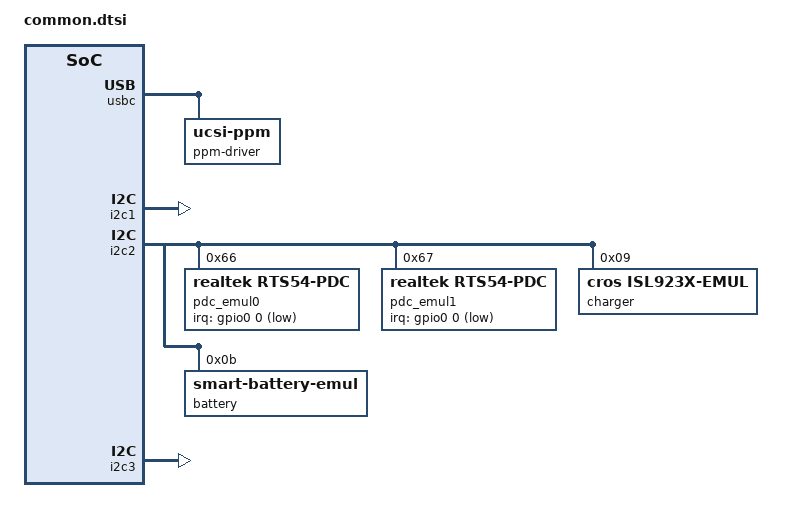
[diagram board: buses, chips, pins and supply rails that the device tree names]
/* Copyright 2026 The ChromiumOS Authors
 * Use of this source code is governed by a BSD-style license that can be
 * found in the LICENSE file.
 */

#include <it8xxx2_emul.dts>
#include <usbc-policy.dtsi>
#include "../program/skywalker/power_signal.dtsi"

/ {
	pinctrl: pinctrl {
		compatible = "ite,it8xxx2-pinctrl";
		status = "disabled";
	};

	named-gpios {
		compatible = "named-gpios";

		gpio_acok_od_z5: acok_od_z5 {
			gpios = <&gpioa 4 (GPIO_INPUT)>;
			enum-name = "GPIO_AC_PRESENT";
		};
		gpio_ap_ec_sysrst_odl: ap_ec_sysrst_odl {
			gpios = <&gpioj 6 (GPIO_INPUT | GPIO_VOLTAGE_1P8 )>;
			enum-name = "GPIO_AP_EC_SYSRST_ODL";
		};
		gpio_ap_ec_warm_rst_req: ap_ec_warm_rst_req {
			gpios = <&gpiom 3 (GPIO_INPUT | GPIO_VOLTAGE_1P8)>;
			enum-name = "GPIO_AP_EC_WARM_RST_REQ";
		};
		gpio_ap_ec_wdtrst_l: ap_ec_wdtrst_l {
			gpios = <&gpioj 3 (GPIO_INPUT | GPIO_VOLTAGE_1P8)>;
			enum-name = "GPIO_AP_EC_WDTRST_L";
		};
		gpio_ap_in_sleep_l: ap_in_sleep_l {
			gpios = <&gpiom 2 (GPIO_INPUT | GPIO_VOLTAGE_1P8)>;
			enum-name = "GPIO_AP_IN_SLEEP_L";
		};
		gpio_ap_xhci_init_done_r: ap_xhci_init_done_r {
			gpios = <&gpioj 4 (GPIO_INPUT | GPIO_VOLTAGE_1P8)>;
		};
		gpio_charger_prochot_odl: charger_prochot_odl {
			gpios = <&gpioc 0 (GPIO_INPUT)>;
		};
		gpio_dp_aux_path_sel: dp_aux_path_sel {
			gpios = <&gpiog 0 (GPIO_OUTPUT | GPIO_ACTIVE_HIGH | GPIO_OUTPUT_INIT_LOW)>;
		};
		gpio_ec_ap_dpoc_en_odl: ec_ap_dpoc_en_odl {
			gpios = <&gpioj 7 (GPIO_OUTPUT | GPIO_OPEN_DRAIN | GPIO_ACTIVE_LOW | GPIO_OUTPUT_INIT_HIGH)>;
		};
		gpio_ec_ap_dp_hpd_l: ec_ap_dp_hpd_l {
			gpios = <&gpiof 3 (GPIO_OUTPUT | GPIO_ACTIVE_LOW | GPIO_OUTPUT_INIT_HIGH)>;
		};
		gpio_gsc_ec_pwr_btn_odl: gsc_ec_pwr_btn_odl {
			gpios = <&gpioa 5 (GPIO_INPUT)>;
			enum-name = "GPIO_POWER_BUTTON_L";
		};
		gpio_lid_360_l: lid_360_l {
			gpios = <&gpioc 7 (GPIO_INPUT)>;
			enum-name = "GPIO_TABLET_MODE_L";
		};
		gpio_lid_open_3v3_z5: lid_open_3v3_z5 {
			gpios = <&gpioc 6 (GPIO_INPUT)>;
			enum-name = "GPIO_LID_OPEN";
		};
		gpio_en_pwr_s3: en_pwr_s3 {
			gpios = <&gpioh 1 (GPIO_OUTPUT)>;
		};
		gpio_en_pwr_s0: en_pwr_s0 {
			gpios = <&gpioh 2 (GPIO_OUTPUT)>;
		};
		gpio_ec_bl_en_od: ec_bl_en_od {
			gpios = <&gpiod 2 (GPIO_OUTPUT | GPIO_OPEN_DRAIN | GPIO_ACTIVE_HIGH | GPIO_OUTPUT_INIT_LOW)>;
		};
		gpio_ec_ap_sys_rst_odl: ec_ap_sys_rst_odl {
			gpios = <&gpioj 5 (GPIO_OUTPUT | GPIO_OPEN_DRAIN | GPIO_ACTIVE_LOW | GPIO_OUTPUT_INIT_HIGH)>;
			enum-name = "GPIO_SYS_RST_ODL";
		};
		gpio_ec_pmic_en_odl_r: ec_pmic_en_odl_r {
			gpios = <&gpioj 0 (GPIO_OUTPUT | GPIO_OPEN_DRAIN | GPIO_ACTIVE_HIGH | GPIO_OUTPUT_INIT_HIGH)>;
			enum-name = "GPIO_EC_PMIC_EN_ODL";
		};
		gpio_en_pp5000: en_pp5000 {
			gpios = <&gpioh 3 (GPIO_OUTPUT | GPIO_ACTIVE_HIGH | GPIO_OUTPUT_INIT_HIGH)>;
			enum-name = "GPIO_EN_PP5000";
		};
		gpio_usb_c0_discharge: usb_c0_discharge {
			gpios = <&gpioi 0 (GPIO_OUTPUT)>;
			enum-name = "GPIO_USB_C0_DISCHARGE";
		};
		gpio_usb_c1_discharge: usb_c1_discharge {
			gpios = <&gpioi 1 (GPIO_OUTPUT)>;
			enum-name = "GPIO_USB_C1_DISCHARGE";
		};
		gpio_lid_accel_int_ec_l: lid_accel_int_ec_l {
			gpios = <&gpiod 1 (GPIO_INPUT | GPIO_VOLTAGE_1P8)>;
		};
		gpio_ec_batt_pres_odl: ec_batt_pres_odl {
			gpios = <&gpiod 6 (GPIO_INPUT)>;
			enum-name = "GPIO_BATT_PRES_ODL";
		};

		/* Dummy ones if needed */
		entering_rw: entering_rw {
			enum-name = "GPIO_ENTERING_RW";
		};
		gpio_pg_pp3700_s5_od: pg_pp3700_s5_od {
			gpios = <&gpioh 6 (GPIO_INPUT)>;
			enum-name = "GPIO_PG_PP4200_S5_OD";
		};
		gpio_pmic_ec_resetb: pmic_ec_resetb {
			gpios = <&gpioj 1 (GPIO_INPUT | GPIO_VOLTAGE_1P8)>;
			enum-name = "GPIO_PMIC_EC_RESETB";
		};
	};

	gpio-interrupts {
		compatible = "cros-ec,gpio-interrupts";

		int_ac_present: ac-present {
			irq-pin = <&gpio_acok_od_z5>;
			flags = <GPIO_INT_EDGE_BOTH>;
			handler = "extpower_interrupt";
		};

		int_ap_xhci_init_done: ap-xhci-init-done {
			irq-pin = <&gpio_ap_xhci_init_done_r>;
			flags = <GPIO_INT_EDGE_BOTH>;
			handler = "xhci_interrupt";
		};

		int_pwr_btn: pwr-btn {
			irq-pin = <&gpio_gsc_ec_pwr_btn_odl>;
			flags = <GPIO_INT_EDGE_BOTH>;
			handler = "power_button_interrupt";
		};

		int_lid_accel: lid-accel {
			irq-pin = <&gpio_lid_accel_int_ec_l>;
			flags = <GPIO_INT_EDGE_FALLING>;
			handler = "lid_accel_interrupt";
		};
	};

	named-i2c-ports {
		compatible = "named-i2c-ports";

		i2c_port_battery: i2c_port_battery {
			i2c-port = <&i2c1>;
			enum-names = "I2C_PORT_BATTERY";
		};
		i2c_port_pdc: i2c_port_pdc {
			i2c-port = <&i2c2>;
			enum-names = "I2C_PORT_PDC";
		};
		i2c_ec_i2c_sensor_scl_1v8: ec_i2c_sensor_scl_1v8 {
			i2c-port = <&i2c3>;
			enum-names = "I2C_PORT_SENSOR";
		};
	};

	usbc {
		#address-cells = <1>;
		#size-cells = <0>;

		port0@0 {
			compatible = "named-usbc-port";
			reg = <0>;
			chg = <&charger>;
			pdc = <&pdc_emul0>;
			policy = <&cros_policy>;
			usb-mux-chain-0 {
				compatible = "cros-ec,usb-mux-chain";
				usb-muxes = <&virtual_mux_0>;
			};
		};

		port0-muxes {
			virtual_mux_0: virtual-mux-0 {
				compatible = "cros-ec,usbc-mux-virtual";
			};
		};

		port1@1 {
			compatible = "named-usbc-port";
			reg = <1>;
			pdc = <&pdc_emul1>;
			policy = <&cros_policy>;
			usb-mux-chain-1 {
				compatible = "cros-ec,usb-mux-chain";
				usb-muxes = <&virtual_mux_1>;
			};
		};

		port1-muxes {
			virtual_mux_1: virtual-mux-1 {
				compatible = "cros-ec,usbc-mux-virtual";
			};
		};

		ppm-driver {
			compatible = "ucsi-ppm";
		};
	};

	motionsense-mutex {
		compatible = "cros-ec,motionsense-mutex";
		mutex_lis2dw12_lid: mutex-lis2dw12-lid {
		};
		mutex_bma4xx_lid: mutex-bma4xx-lid {
		};
	};

	motionsense-sensor-data {
		lid_data: lis2dw12-drv-lid-data {
			compatible = "cros-ec,drvdata-lis2dw12";
			status = "okay";
		};
		alt_lid_data: bma422-drv-lid-data {
			compatible = "cros-ec,drvdata-bma4xx";
			status = "okay";
		};
	};

	motionsense-sensor {
		lid_accel: lid-accel {
			compatible = "cros-ec,lis2dw12";
			status = "okay";
			mutex = <&mutex_lis2dw12_lid>;
			active-mask = "SENSOR_ACTIVE_S0_S3";
			location = "MOTIONSENSE_LOC_LID";
			port = <&i2c_ec_i2c_sensor_scl_1v8>;
			drv-data = <&lid_data>;
		};
	};

	motionsense-sensor-alt {
		alt_lid_accel: alt-lid-accel {
			compatible = "cros-ec,bma4xx";
			status = "okay";
			alternate-for = <&lid_accel>;
			mutex = <&mutex_bma4xx_lid>;
			active-mask = "SENSOR_ACTIVE_S0_S3";
			location = "MOTIONSENSE_LOC_LID";
			port = <&i2c_ec_i2c_sensor_scl_1v8>;
			drv-data = <&alt_lid_data>;
		};
	};

	motionsense-sensor-info {
		compatible = "cros-ec,motionsense-sensor-info";
		/*
		* List of GPIO interrupts that have to be enabled at initial
		* stage.
		*/
		sensor-irqs = <&int_lid_accel>;
	};

	batteries {
		default_battery: lgc_ac17a8m {
			compatible = "lgc,ac17a8m", "battery-smart";
			/**
			 * this has to be strictly lower than the desired
			 * voltage in smart battery emulator (5000mV).
			 */
			voltage_min = <4000>;
		};
	};
};

&i2c1 {
	status = "okay";
};

&i2c2 {
	status = "okay";
	pdc_emul0: rts5453@66 {

		compatible = "realtek,rts54-pdc";
		status = "okay";
		reg = <0x66>;
		irq-gpios = <&gpio0 0 GPIO_ACTIVE_LOW>;
		ccd;
	};

	pdc_emul1: rts5453@67 {
		compatible = "realtek,rts54-pdc";
		status = "okay";
		reg = <0x67>;
		irq-gpios = <&gpio0 0 GPIO_ACTIVE_LOW>;
	};

	charger: isl923x@9 {
		compatible = "cros,isl923x-emul";
		status = "okay";
		reg = <0x09>;
		battery = <&battery>;
	};

	battery: sb@b {
		compatible = "zephyr,smart-battery-emul";
		reg = <0xb>;
		cycle-count = <99>;
		version = "BATTERY_SPEC_VER_1_1_WITH_PEC";
		desired-charg-volt = <5000>;
		desired-charg-cur = <1000>;
		mf-name = "LGC";
		dev-name = "AC17A8M";
	};
};

&i2c3 {
	status = "okay";
};
